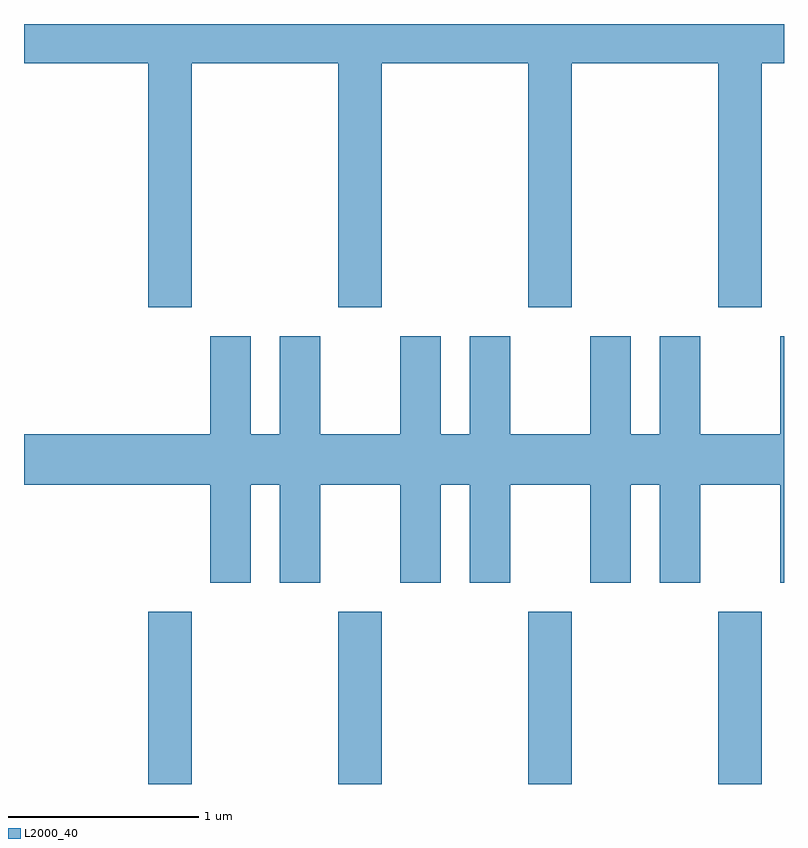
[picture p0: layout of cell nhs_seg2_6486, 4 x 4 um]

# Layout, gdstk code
import gdstk
lib = gdstk.Library(unit=1e-6, precision=1e-09)
def R(c, l, rs):  # rectangles x0, y0, x1, y1
    for r in rs: c.add(gdstk.rectangle(r[:2], r[2:], *l))
def A(c, l, x, y, w, h, nx, ny, dx, dy):  # array of equal rectangles
    R(c, l, [(x+i*dx, y+j*dy, x+i*dx+w, y+j*dy+h) for i in range(nx) for j in range(ny)])
def P(c, l, *ps):  # polygons
    for p in ps: c.add(gdstk.Polygon(p, *l))
L2000_40 = (2000, 40)

nhs_seg2_6486 = lib.new_cell('nhs_seg2_6486')
A(nhs_seg2_6486, L2000_40, 376.266, 1097.802, 0.228, 0.907, 4, 1, 1, 0)
P(nhs_seg2_6486, L2000_40, [(376.494,1101.596),(377.266,1101.596),(377.266,1100.311),(377.494,1100.311),(377.494,1101.596),(378.266,1101.596),(378.266,1100.311),(378.494,1100.311),(378.494,1101.596),(379.266,1101.596),(379.266,1100.311),(379.494,1100.311),(379.494,1101.596),(379.611,1101.596),(379.611,1101.802),(375.611,1101.802),(375.611,1101.596),(376.266,1101.596),(376.266,1100.311),(376.494,1100.311)],
  [(376.804,1099.376),(376.956,1099.376),(376.956,1098.861),(377.169,1098.861),(377.169,1099.376),(377.591,1099.376),(377.591,1098.861),(377.804,1098.861),(377.804,1099.376),(377.956,1099.376),(377.956,1098.861),(378.169,1098.861),(378.169,1099.376),(378.591,1099.376),(378.591,1098.861),(378.804,1098.861),(378.804,1099.376),(378.956,1099.376),(378.956,1098.861),(379.169,1098.861),(379.169,1099.376),(379.591,1099.376),(379.591,1098.861),(379.611,1098.861),(379.611,1100.159),(379.591,1100.159),(379.591,1099.644),(379.169,1099.644),(379.169,1100.159),(378.956,1100.159),(378.956,1099.644),(378.804,1099.644),(378.804,1100.159),(378.591,1100.159),(378.591,1099.644),(378.169,1099.644),(378.169,1100.159),(377.956,1100.159),(377.956,1099.644),(377.804,1099.644),(377.804,1100.159),(377.591,1100.159),(377.591,1099.644),(377.169,1099.644),(377.169,1100.159),(376.956,1100.159),(376.956,1099.644),(376.804,1099.644),(376.804,1100.159),(376.591,1100.159),(376.591,1099.644),(375.611,1099.644),(375.611,1099.376),(376.591,1099.376),(376.591,1098.861),(376.804,1098.861)])

lib.write_gds('nhs_seg2_6486.gds')
